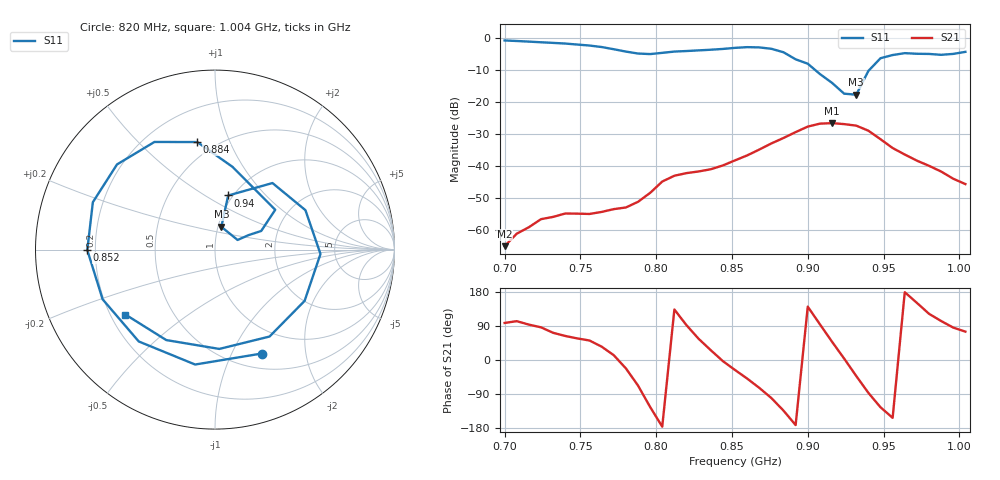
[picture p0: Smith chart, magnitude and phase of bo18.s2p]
# Hz S RI R 50
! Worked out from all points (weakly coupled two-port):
!   39 points, 700 MHz to 1.004 GHz, reference 50 ohm
!   highest |S21| = -26.48 dB at 916 MHz (marker M1); lowest = -64.9 dB at 700 MHz (marker M2)
!   lowest |S11| = -17.6 dB at 932 MHz (marker M3), VSWR 1.30, Z = 51.9 + j13.4 ohm
!   |S11| at or under -10 dB: 905.2 MHz to 940.3 MHz (35.14 MHz wide, 3.81 % of centre)
!   S12 and S22 are empty: the file has one direction only
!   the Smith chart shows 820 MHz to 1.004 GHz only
!   S11 on the Smith chart (normalised r, x): 820 MHz: 0.68, -1.31; 852 MHz: 0.17, -0.00; 884 MHz: 0.40, +0.77; 940 MHz: 0.95, +0.64; 1.004 GHz: 0.26, -0.30
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7e8  0.7593 0.5346  -7.64e-05 0.000562  0 0  0 0
7.24e8  0.8313 -0.256  9.85e-05 0.0015  0 0  0 0
7.4e8  0.4463 -0.701  0.000821 0.00164  0 0  0 0
7.56e8  -0.1949 -0.7485  0.00113 0.00141  0 0  0 0
7.72e8  -0.651 -0.1871  0.0021 0.000472  0 0  0 0
7.8e8  -0.5782 0.2297  0.00211 -0.000857  0 0  0 0
7.88e8  -0.2305 0.5325  0.00108 -0.00258  0 0  0 0
7.96e8  0.2535 0.5092  -0.00215 -0.0032  0 0  0 0
8.04e8  0.5733 0.157  -0.00578 -0.000407  0 0  0 0
8.2e8  0.2599 -0.5791  -0.000253 0.00785  0 0  0 0
8.36e8  -0.425 -0.5117  0.00811 0.00395  0 0  0 0
8.52e8  -0.7115 -0.00258  0.0111 -0.00551  0 0  0 0
8.68e8  -0.546 0.4744  0.00521 -0.0175  0 0  0 0
8.84e8  -0.0987 0.5991  -0.0192 -0.0201  0 0  0 0
9e8  0.3357 0.2218  -0.0325 0.0265  0 0  0 0
9.08e8  0.2575 0.1039  -0.00353 0.0464  0 0  0 0
9.16e8  0.1855 0.0802  0.0316 0.0354  0 0  0 0
9.32e8  0.0354 0.127  0.0321 -0.0292  0 0  0 0
9.4e8  0.0734 0.3015  0.00206 -0.0361  0 0  0 0
9.56e8  0.5038 0.2197  -0.0172 -0.00891  0 0  0 0
9.8e8  0.3038 -0.4844  -0.00541 0.00867  0 0  0 0
1.004e9  -0.4987 -0.362  0.00139 0.00511  0 0  0 0
